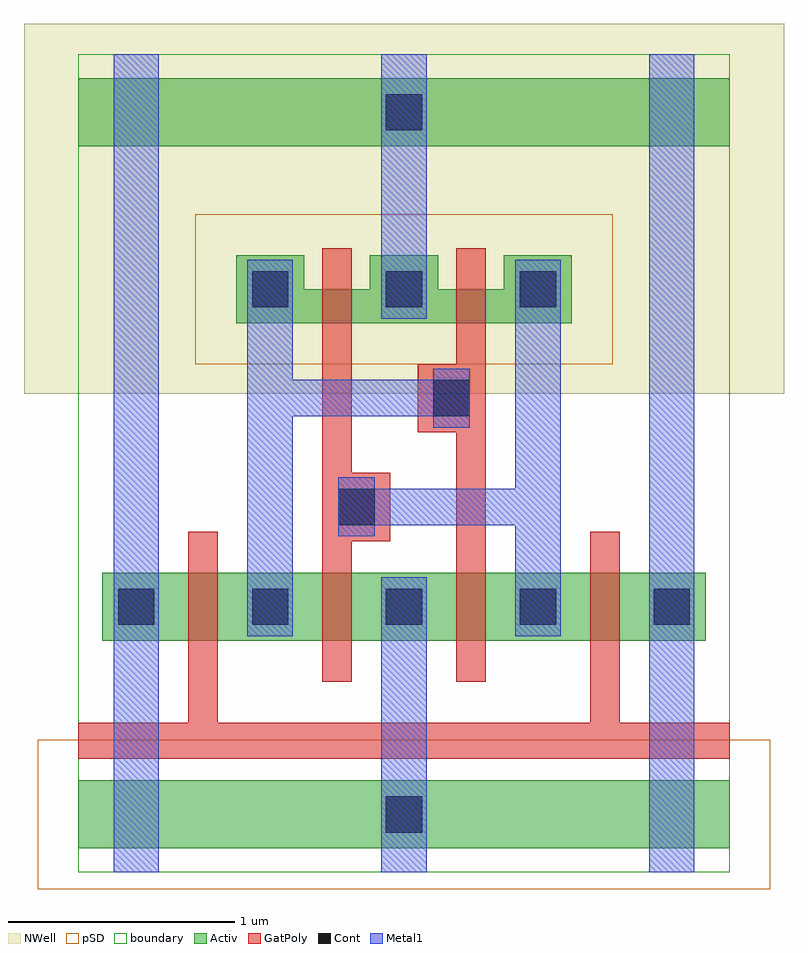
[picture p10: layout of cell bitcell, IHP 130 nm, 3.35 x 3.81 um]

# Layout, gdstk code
import gdstk
lib = gdstk.Library(unit=1e-6, precision=1e-09)
def R(c, l, rs):  # rectangles x0, y0, x1, y1
    for r in rs: c.add(gdstk.rectangle(r[:2], r[2:], *l))
def A(c, l, x, y, w, h, nx, ny, dx, dy):  # array of equal rectangles
    R(c, l, [(x+i*dx, y+j*dy, x+i*dx+w, y+j*dy+h) for i in range(nx) for j in range(ny)])
def P(c, l, *ps):  # polygons
    for p in ps: c.add(gdstk.Polygon(p, *l))
Activ = (1, 0)
GatPoly = (5, 0)
Cont = (6, 0)
Metal1 = (8, 0)
pSD = (14, 0)
NWell = (31, 0)
boundary = (189, 4)

bitcell = lib.new_cell('bitcell')
R(bitcell, Activ, [(0,0.105,2.87,0.405), (0.105,1.02,2.765,1.32), (0,3.2,2.87,3.5)])
P(bitcell, Activ, [(0.695,2.42),(0.695,2.72),(0.995,2.72),(0.995,2.57),(1.285,2.57),(1.285,2.72),(1.585,2.72),(1.585,2.57),(1.875,2.57),(1.875,2.72),(2.175,2.72),(2.175,2.42)])
P(bitcell, GatPoly, [(0,0.5),(0,0.66),(0.485,0.66),(0.485,1.5),(0.615,1.5),(0.615,0.66),(2.255,0.66),(2.255,1.5),(2.385,1.5),(2.385,0.66),(2.87,0.66),(2.87,0.5)],
  [(1.075,0.84),(1.075,2.75),(1.205,2.75),(1.205,1.76),(1.375,1.76),(1.375,1.46),(1.205,1.46),(1.205,0.84)],
  [(1.665,0.84),(1.665,1.94),(1.495,1.94),(1.495,2.24),(1.665,2.24),(1.665,2.75),(1.795,2.75),(1.795,0.84)])
A(bitcell, Cont, 0.175, 1.09, 0.16, 0.16, 5, 1, 0.59, 0)
A(bitcell, Cont, 0.765, 2.49, 0.16, 0.16, 3, 1, 0.59, 0)
R(bitcell, Cont, [(1.355,0.175,1.515,0.335), (1.145,1.53,1.305,1.69), (1.565,2.01,1.725,2.17), (1.355,3.27,1.515,3.43)])
R(bitcell, Metal1, [(0.155,0,0.355,3.605), (1.335,0,1.535,1.3), (2.515,0,2.715,3.605), (1.335,2.44,1.535,3.605)])
P(bitcell, Metal1, [(0.745,1.04),(0.745,2.7),(0.945,2.7),(0.945,2.17),(1.565,2.17),(1.565,2.22),(1.725,2.22),(1.725,1.96),(1.565,1.96),(1.565,2.01),(0.945,2.01),(0.945,1.04)],
  [(1.925,1.04),(1.925,1.53),(1.305,1.53),(1.305,1.48),(1.145,1.48),(1.145,1.74),(1.305,1.74),(1.305,1.69),(1.925,1.69),(1.925,2.7),(2.125,2.7),(2.125,1.04)])
R(bitcell, pSD, [(-0.18,-0.075,3.05,0.585), (0.515,2.24,2.355,2.9)])
R(bitcell, NWell, [(-0.24,2.11,3.11,3.74)])
R(bitcell, boundary, [(0,0,2.87,3.605)])

lib.write_gds('bitcell.gds')
